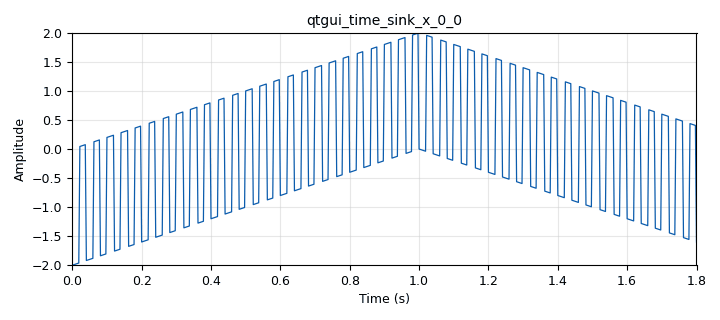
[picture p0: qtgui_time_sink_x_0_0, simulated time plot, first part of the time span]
<?xml version='1.0' encoding='utf-8'?>
<?grc format='1' created='3.7.11'?>
<flow_graph>
<block>
<key>options</key>
<param><key>id</key><value>top_block</value></param>
<param><key>generate_options</key><value>qt_gui</value></param>
</block>
<block>
<key>variable</key>
<param><key>id</key><value>samp_rate</value></param>
<param><key>value</key><value>320</value></param>
</block>
<block>
<key>afc_fsk_afc_ff</key>
<param><key>id</key><value>afc_fsk_afc_ff_0</value></param>
<param><key>ntaps</key><value>2</value></param>
</block>
<block>
<key>afc_fsk_afc_ff</key>
<param><key>id</key><value>afc_fsk_afc_ff_0_0</value></param>
<param><key>ntaps</key><value>2</value></param>
</block>
<block>
<key>analog_sig_source_x</key>
<param><key>id</key><value>analog_sig_source_x_0</value></param>
<param><key>amp</key><value>1</value></param>
<param><key>freq</key><value>25</value></param>
<param><key>offset</key><value>0</value></param>
<param><key>type</key><value>float</value></param>
<param><key>samp_rate</key><value>samp_rate</value></param>
<param><key>waveform</key><value>analog.GR_SQR_WAVE</value></param>
</block>
<block>
<key>analog_sig_source_x</key>
<param><key>id</key><value>analog_sig_source_x_0_0</value></param>
<param><key>amp</key><value>2</value></param>
<param><key>freq</key><value>.5</value></param>
<param><key>offset</key><value>0</value></param>
<param><key>type</key><value>float</value></param>
<param><key>samp_rate</key><value>samp_rate</value></param>
<param><key>waveform</key><value>analog.GR_TRI_WAVE</value></param>
</block>
<block>
<key>blocks_add_const_vxx</key>
<param><key>id</key><value>blocks_add_const_vxx_0_0</value></param>
<param><key>const</key><value>-.5</value></param>
<param><key>type</key><value>float</value></param>
</block>
<block>
<key>blocks_add_const_vxx</key>
<param><key>id</key><value>blocks_add_const_vxx_0_0_0</value></param>
<param><key>const</key><value>-1</value></param>
<param><key>type</key><value>float</value></param>
</block>
<block>
<key>blocks_add_xx</key>
<param><key>id</key><value>blocks_add_xx_0</value></param>
<param><key>type</key><value>float</value></param>
</block>
<block>
<key>blocks_multiply_const_vxx</key>
<param><key>id</key><value>blocks_multiply_const_vxx_0</value></param>
<param><key>const</key><value>2</value></param>
<param><key>type</key><value>float</value></param>
</block>
<block>
<key>blocks_throttle</key>
<param><key>id</key><value>blocks_throttle_0</value></param>
<param><key>samples_per_second</key><value>samp_rate</value></param>
<param><key>type</key><value>float</value></param>
</block>
<block>
<key>qtgui_time_sink_x</key>
<param><key>id</key><value>qtgui_time_sink_x_0</value></param>
<param><key>gui_hint</key><value>2,1,1,1</value></param>
<param><key>color1</key><value>"blue"</value></param>
<param><key>label1</key><value></value></param>
<param><key>size</key><value>samp_rate * 10</value></param>
<param><key>srate</key><value>samp_rate</value></param>
<param><key>type</key><value>float</value></param>
<param><key>update_time</key><value>0.01</value></param>
<param><key>ymax</key><value>2</value></param>
<param><key>ymin</key><value>-2</value></param>
</block>
<block>
<key>qtgui_time_sink_x</key>
<param><key>id</key><value>qtgui_time_sink_x_0_0</value></param>
<param><key>gui_hint</key><value>1,1,1,1</value></param>
<param><key>color1</key><value>"blue"</value></param>
<param><key>label1</key><value></value></param>
<param><key>size</key><value>samp_rate * 10</value></param>
<param><key>srate</key><value>samp_rate</value></param>
<param><key>type</key><value>float</value></param>
<param><key>update_time</key><value>0.01</value></param>
<param><key>ymax</key><value>2</value></param>
<param><key>ymin</key><value>-2</value></param>
</block>
<block>
<key>qtgui_time_sink_x</key>
<param><key>id</key><value>qtgui_time_sink_x_0_1</value></param>
<param><key>gui_hint</key><value>3,1,1,1</value></param>
<param><key>color1</key><value>"blue"</value></param>
<param><key>label1</key><value></value></param>
<param><key>size</key><value>samp_rate * 10</value></param>
<param><key>srate</key><value>samp_rate</value></param>
<param><key>type</key><value>float</value></param>
<param><key>update_time</key><value>0.01</value></param>
<param><key>ymax</key><value>2</value></param>
<param><key>ymin</key><value>-2</value></param>
</block>
<connection><source_block_id>afc_fsk_afc_ff_0</source_block_id><sink_block_id>afc_fsk_afc_ff_0_0</sink_block_id><source_key>0</source_key><sink_key>0</sink_key></connection>
<connection><source_block_id>afc_fsk_afc_ff_0</source_block_id><sink_block_id>qtgui_time_sink_x_0</sink_block_id><source_key>0</source_key><sink_key>0</sink_key></connection>
<connection><source_block_id>afc_fsk_afc_ff_0_0</source_block_id><sink_block_id>qtgui_time_sink_x_0_1</sink_block_id><source_key>0</source_key><sink_key>0</sink_key></connection>
<connection><source_block_id>analog_sig_source_x_0</source_block_id><sink_block_id>blocks_throttle_0</sink_block_id><source_key>0</source_key><sink_key>0</sink_key></connection>
<connection><source_block_id>analog_sig_source_x_0_0</source_block_id><sink_block_id>blocks_add_const_vxx_0_0_0</sink_block_id><source_key>0</source_key><sink_key>0</sink_key></connection>
<connection><source_block_id>blocks_add_const_vxx_0_0</source_block_id><sink_block_id>blocks_multiply_const_vxx_0</sink_block_id><source_key>0</source_key><sink_key>0</sink_key></connection>
<connection><source_block_id>blocks_add_const_vxx_0_0_0</source_block_id><sink_block_id>blocks_add_xx_0</sink_block_id><source_key>0</source_key><sink_key>1</sink_key></connection>
<connection><source_block_id>blocks_add_xx_0</source_block_id><sink_block_id>afc_fsk_afc_ff_0</sink_block_id><source_key>0</source_key><sink_key>0</sink_key></connection>
<connection><source_block_id>blocks_add_xx_0</source_block_id><sink_block_id>qtgui_time_sink_x_0_0</sink_block_id><source_key>0</source_key><sink_key>0</sink_key></connection>
<connection><source_block_id>blocks_multiply_const_vxx_0</source_block_id><sink_block_id>blocks_add_xx_0</sink_block_id><source_key>0</source_key><sink_key>0</sink_key></connection>
<connection><source_block_id>blocks_throttle_0</source_block_id><sink_block_id>blocks_add_const_vxx_0_0</sink_block_id><source_key>0</source_key><sink_key>0</sink_key></connection>
</flow_graph>
